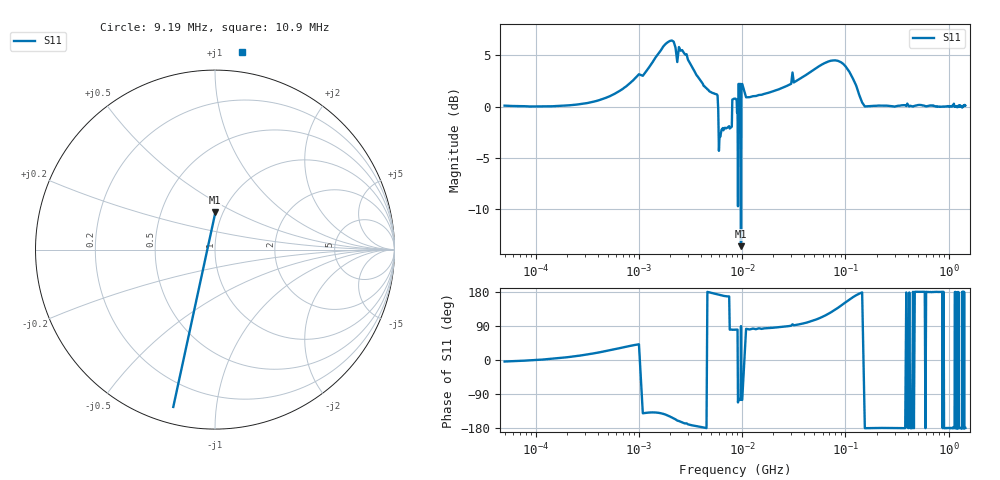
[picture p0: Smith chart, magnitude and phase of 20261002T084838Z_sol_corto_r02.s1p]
! piloto_deriva / sol_corto / r02
# HZ S RI R 50
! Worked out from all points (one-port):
!   501 points, 50 kHz to 1.45 GHz, reference 50 ohm
!   lowest |S11| = -13.7 dB at 9.73 MHz (marker M1), VSWR 1.52, Z = 46.1 + j19.9 ohm
!   |S11| at or under -10 dB: 9.704149 MHz to 9.751014 MHz (46.86 kHz wide, 0.482 % of centre)
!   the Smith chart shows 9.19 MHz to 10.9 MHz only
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50000  1.007 -0.0705
183000  1.003 0.105
658000  1.021 0.627
981000  1.073 0.937
1000000  1.078 0.9536
1270000  -1.178 -1.04
1810000  -1.641 -1.188
2440000  -1.851 -0.6323
5590000  -1.141 0.1231
6130000  -0.7018 0.1074
7300000  -0.7757 0.168
7750000  0.1343 0.7769
8560000  0.1892 1.077
8830000  0.1837 1.065
9280000  -0.2849 -1.258
9370000  -0.2899 -1.256
9550000  -0.309 -1.253
9730000  0.00193 0.2068
9820000  -0.3175 -1.234
1e7  -0.3395 -1.245
1.27e7  0.1387 1.115
3.16e7  -0.0348 1.311
6.76e7  -0.8599 1.419
9.37e7  -1.354 0.8992
1.18e8  -1.328 0.3395
1.63e8  -1.002 -0.00352
4.06e8  -1.012 -0.00292
1.45e9  -1.011 -0.00771
